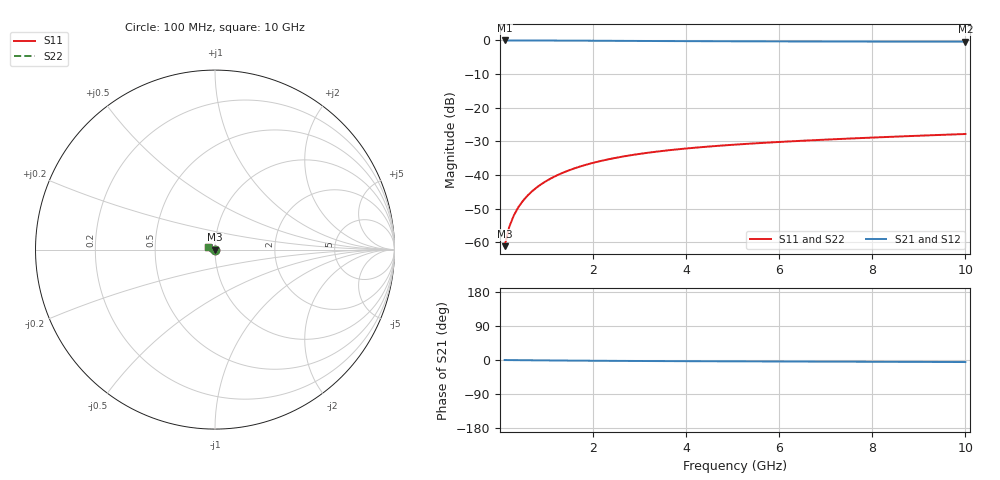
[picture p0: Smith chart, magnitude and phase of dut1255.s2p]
! Touchstone file exported from HFSS 2024.1.0
!  File:  C:/UserFiles/LocalFiles/RDL_TSV_Batchsim/temp_TSV1_1255_1780252788.aedt
!  Generated:  02:48:36 AM Jun  1, 2026
!  Design:  TSV1
!  Project:  temp_TSV1_1255_1780252788
!  Setup:  Setup1
!  Solution:  Sweep
! Variables:
!  dtsv = 7.25um
!  hbump = 3um
!  htsv = 82.15um
!  lrdl = 252.1521522um
!  p = 40
!  p1 = 49.9um
!  t = 500um
!  trdl = 3um
!  wrdl = 24.89489489um
# GHz S MA R 50.000000
! Terminal data exported
! Port[1] = TSV22_T1
! Port[2] = TSV22_T2
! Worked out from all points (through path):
!   100 points, 100 MHz to 10 GHz, reference 50 ohm
!   highest |S21| = 0.00 dB at 100 MHz (marker M1); lowest = -0.4 dB at 10 GHz (marker M2)
!   lowest |S11| = -61.2 dB at 100 MHz (marker M3), VSWR 1.00, Z = 50 - j0.0839 ohm
!   |S11| at or under -10 dB: start of sweep to end of sweep
!   |S22| runs from -61.2 to -27.8 dB; largest |S21 - S12| = 5e-15
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0.1  0.0008749 -73.4  0.9997 -0.1  0.9997 -0.1  0.0008749 -73.4
! Gamma 0 0 0 0
! Port Impedance 50 0 50 0
0.2  0.001697 -84.5  0.9996 -0.2  0.9996 -0.2  0.001697 -84.5
0.3  0.002528 -89.6  0.9994 -0.3  0.9994 -0.3  0.002528 -89.6
0.4  0.003357 -93.2  0.9992 -0.4  0.9992 -0.4  0.003357 -93.2
0.5  0.004181 -96.1  0.9989 -0.6  0.9989 -0.6  0.004181 -96.1
0.6  0.004999 -98.7  0.9986 -0.7  0.9986 -0.7  0.004999 -98.7
0.7  0.005808 -101.1  0.9983 -0.8  0.9983 -0.8  0.005808 -101.1
0.8  0.006607 -103.4  0.9978 -0.9  0.9978 -0.9  0.006607 -103.4
0.9  0.007396 -105.6  0.9974 -1.0  0.9974 -1.0  0.007396 -105.6
1.1  0.008938 -109.8  0.9963 -1.2  0.9963 -1.2  0.008938 -109.8
1.4  0.01115 -115.7  0.9945 -1.5  0.9945 -1.5  0.01115 -115.7
1.6  0.01254 -119.5  0.9931 -1.6  0.9931 -1.6  0.01254 -119.5
1.8  0.01388 -123.1  0.9917 -1.8  0.9917 -1.8  0.01388 -123.1
2.1  0.01576 -128.3  0.9895 -2.0  0.9895 -2.0  0.01576 -128.3
2.5  0.01805 -134.8  0.9865 -2.3  0.9865 -2.3  0.01805 -134.8
2.9  0.0201 -140.8  0.9836 -2.6  0.9836 -2.6  0.0201 -140.8
3.4  0.02238 -147.7  0.9801 -2.8  0.9801 -2.8  0.02238 -147.8
4.2  0.02548 -157.6  0.9753 -3.2  0.9753 -3.2  0.02548 -157.6
5.1  0.02841 -167.2  0.9709 -3.6  0.9709 -3.6  0.02841 -167.2
6.7  0.03279 178.8  0.9651 -4.2  0.9651 -4.2  0.03279 178.8
8.4  0.03693 166.9  0.961 -4.8  0.961 -4.8  0.03693 166.9
10  0.04068 157.8  0.9584 -5.4  0.9584 -5.4  0.04068 157.8
